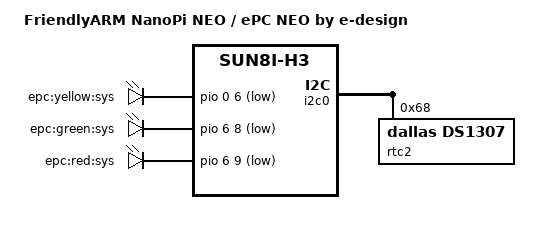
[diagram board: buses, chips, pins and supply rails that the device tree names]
/*
 * Copyright (C) 2016 Milo Kim <woogyom.kim@xxxxxxxxx>
 *
 * This file is dual-licensed: you can use it either under the terms
 * of the GPL or the X11 license, at your option. Note that this dual
 * licensing only applies to this file, and not this project as a
 * whole.
 *
 *  a) This file is free software; you can redistribute it and/or
 *     modify it under the terms of the GNU General Public License as
 *     published by the Free Software Foundation; either version 2 of the
 *     License, or (at your option) any later version.
 *
 *     This file is distributed in the hope that it will be useful,
 *     but WITHOUT ANY WARRANTY; without even the implied warranty of
 *     MERCHANTABILITY or FITNESS FOR A PARTICULAR PURPOSE.  See the
 *     GNU General Public License for more details.
 *
 * Or, alternatively,
 *
 *  b) Permission is hereby granted, free of charge, to any person
 *     obtaining a copy of this software and associated documentation
 *     files (the "Software"), to deal in the Software without
 *     restriction, including without limitation the rights to use,
 *     copy, modify, merge, publish, distribute, sublicense, and/or
 *     sell copies of the Software, and to permit persons to whom the
 *     Software is furnished to do so, subject to the following
 *     conditions:
 *
 *     The above copyright notice and this permission notice shall be
 *     included in all copies or substantial portions of the Software.
 *
 *     THE SOFTWARE IS PROVIDED "AS IS", WITHOUT WARRANTY OF ANY KIND,
 *     EXPRESS OR IMPLIED, INCLUDING BUT NOT LIMITED TO THE WARRANTIES
 *     OF MERCHANTABILITY, FITNESS FOR A PARTICULAR PURPOSE AND
 *     NONINFRINGEMENT. IN NO EVENT SHALL THE AUTHORS OR COPYRIGHT
 *     HOLDERS BE LIABLE FOR ANY CLAIM, DAMAGES OR OTHER LIABILITY,
 *     WHETHER IN AN ACTION OF CONTRACT, TORT OR OTHERWISE, ARISING
 *     FROM, OUT OF OR IN CONNECTION WITH THE SOFTWARE OR THE USE OR
 *     OTHER DEALINGS IN THE SOFTWARE.
 */

/*
 * Changelog
 * 2016.11.12 Alexander Krause <alexander.krause at ed-solutions dot de>
 *   * include sun8i-h3-nanopi-neo.dts
 * 2016.11.10 Alexander Krause <alexander.krause at ed-solutions dot de>
 *   * created, LEDs added, RTC via I2C added
 */

#include "sun8i-h3-nanopi-neo.dts"
 
/ {
	model = "FriendlyARM NanoPi NEO / ePC NEO by e-design";
	compatible = "friendlyarm,nanopi-neo", "allwinner,sun8i-h3";
	leds {
		pinctrl-0 = <&leds_npi>, <&leds_r_npi>, <&leds_sys0>, <&leds_sys1>, <&leds_sys2>;

		status {
			default-state = "off";
			linux,default-trigger = "none";
		};
		pwr {
			default-state = "off";
			linux,default-trigger = "none";
		};

		sys0 {
			label = "epc:yellow:sys";
			gpios = <&pio 0 6 GPIO_ACTIVE_LOW>; /*GPIOA6*/
			//pwms = <&pwm 1 5000000>;
			max-brightness = <255>;
			linux,default-trigger = "heartbeat";
		};
		sys1 {
			label = "epc:green:sys";
			gpios = <&pio 6 8 GPIO_ACTIVE_LOW>; /* GPIOG8 */
			linux,default-trigger = "heartbeat";
		};
		sys2 {
			label = "epc:red:sys";
			gpios = <&pio 6 9 GPIO_ACTIVE_LOW>; /* GPIOG9 */
			linux,default-trigger = "heartbeat";
		};

	};
};

&pio {
	leds_sys0: led_pins@0 {
		allwinner,pins = "PA6";
		allwinner,function = "gpio_out";
		allwinner,drive = <SUN4I_PINCTRL_10_MA>;
		allwinner,pull = <SUN4I_PINCTRL_NO_PULL>;
	};
	leds_sys1: led_pins@0 {
		allwinner,pins = "PG8";
		allwinner,function = "gpio_out";
		allwinner,drive = <SUN4I_PINCTRL_10_MA>;
		allwinner,pull = <SUN4I_PINCTRL_NO_PULL>;
	};
	leds_sys2: led_pins@0 {
		allwinner,pins = "PG9";
		allwinner,function = "gpio_out";
		allwinner,drive = <SUN4I_PINCTRL_10_MA>;
		allwinner,pull = <SUN4I_PINCTRL_NO_PULL>;
	};
};


&i2c0 {
	rtc2: rtc@68 { /* the real time clock defined as child of the i2c1 bus */
		compatible = "dallas,ds1307";
		#address-cells = <1>;
		#size-cells = <0>;
		reg = <0x68>;
	};
};

